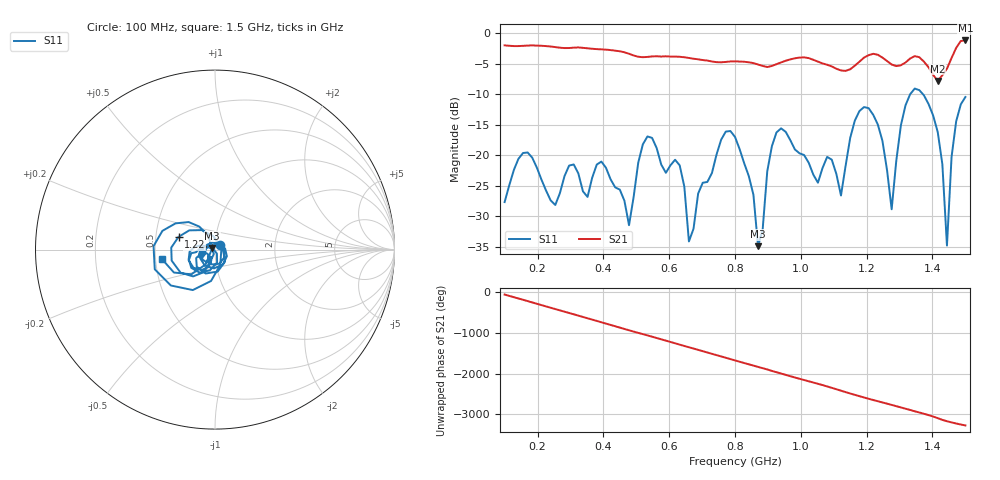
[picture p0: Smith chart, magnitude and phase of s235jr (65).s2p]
! NanoVNA-App
! Date: 2025-09-26 09:45:17
! Start: 100MHz Stop: 1,5GHz Points: 101
! S-Parameter data: F S11 S21 S12 S22
# Hz S RI R 50
!  Frequency  S11_Real  S11_Imag  S21_Real  S21_Imag  S12_Real  S12_Imag  S22_Real  S22_Imag
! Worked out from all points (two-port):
!   101 points, 100 MHz to 1.5 GHz, reference 50 ohm
!   highest |S21| = -1.15 dB at 1.5 GHz (marker M1); lowest = -7.8 dB at 1.416 GHz (marker M2)
!   |S21| within 3 dB of the highest: start of sweep to 675.1 MHz; 1.188 GHz to 1.253 GHz (64.58 MHz wide, 5.29 % of centre)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
!   lowest |S11| = -34.9 dB at 870 MHz (marker M3), VSWR 1.04, Z = 48.5 + j0.953 ohm
!   |S11| at or under -10 dB: start of sweep to 1.332 GHz; 1.372 GHz to end of sweep
!   S12 and S22 are empty: the file has one direction only
!   S11 on the Smith chart (normalised r, x): 100 MHz: 1.06, +0.06; 1.22 GHz: 0.66, +0.10; 1.5 GHz: 0.54, -0.06
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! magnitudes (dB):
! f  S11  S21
! 100 MHz  -27.6  -2.0
! 156 MHz  -19.6  -2.0
! 338 MHz  -25.9  -2.4
! 394 MHz  -21.0  -2.6
! 478 MHz  -31.4  -3.3
! 520 MHz  -18.2  -3.9
! 576 MHz  -21.5  -3.8
! 632 MHz  -21.6  -3.8
! 660 MHz  -34.1  -4.0
! 800 MHz  -17.0  -4.6
! 870 MHz  -34.9  -5.1
! 926 MHz  -16.2  -5.0
! 1.038 GHz  -23.2  -4.3
! 1.122 GHz  -26.6  -6.1
! 1.164 GHz  -14.3  -5.3
! 1.22 GHz  -13.3  -3.3
! 1.276 GHz  -28.8  -5.1
! 1.332 GHz  -10.0  -4.1
! 1.416 GHz  -16.2  -7.8
! 1.444 GHz  -34.8  -5.8
! 1.458 GHz  -20.2  -4.0
! 1.5 GHz  -10.4  -1.2
